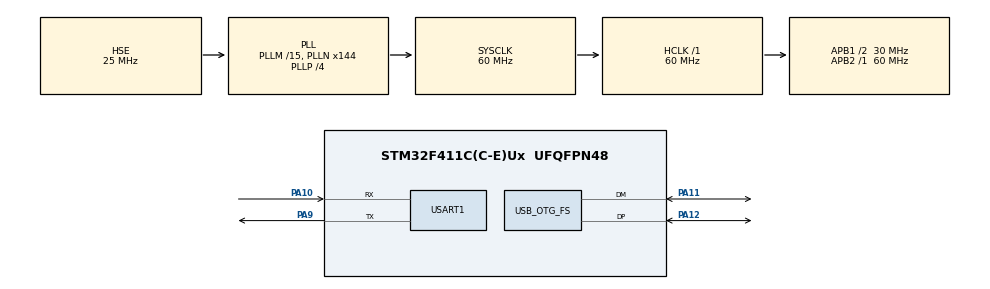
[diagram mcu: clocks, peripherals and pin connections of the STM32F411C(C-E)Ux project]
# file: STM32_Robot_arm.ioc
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Mcu.Family=STM32F4
Mcu.Name=STM32F411C(C-E)Ux
Mcu.Package=UFQFPN48
NVIC.OTG_FS_IRQn=true\:0\:0\:false\:false\:true\:false\:true\:true
NVIC.PriorityGroup=NVIC_PRIORITYGROUP_4
PA10.Mode=Asynchronous
PA10.Signal=USART1_RX
PA11.Mode=Device_Only
PA11.Signal=USB_OTG_FS_DM
PA12.Mode=Device_Only
PA12.Signal=USB_OTG_FS_DP
PA9.Mode=Asynchronous
PA9.Signal=USART1_TX
PH0\ -\ OSC_IN.Mode=HSE-External-Oscillator
PH0\ -\ OSC_IN.Signal=RCC_OSC_IN
PH1\ -\ OSC_OUT.Mode=HSE-External-Oscillator
PH1\ -\ OSC_OUT.Signal=RCC_OSC_OUT
ProjectManager.HeapSize=0x200
ProjectManager.StackSize=0x400
ProjectManager.TargetToolchain=CMake
RCC.48MHZClocksFreq_Value=48000000
RCC.AHBFreq_Value=60000000
RCC.APB1CLKDivider=RCC_HCLK_DIV2
RCC.APB1Freq_Value=30000000
RCC.APB1TimFreq_Value=60000000
RCC.APB2Freq_Value=60000000
RCC.APB2TimFreq_Value=60000000
RCC.CortexFreq_Value=60000000
RCC.HCLKFreq_Value=60000000
RCC.HSE_VALUE=25000000
RCC.HSI_VALUE=16000000
RCC.LSE_VALUE=32768
RCC.PLLM=15
RCC.PLLN=144
RCC.PLLP=RCC_PLLP_DIV4
RCC.PLLQ=5
RCC.SYSCLKFreq_VALUE=60000000
RCC.SYSCLKSource=RCC_SYSCLKSOURCE_PLLCLK
RCC.VCOOutputFreq_Value=240000000
USART1.VirtualMode=VM_ASYNC
USB_DEVICE.CLASS_NAME_FS=CDC
USB_DEVICE.VirtualMode=Cdc
USB_DEVICE.VirtualModeFS=Cdc_FS
USB_OTG_FS.VirtualMode=Device_Only
VP_USB_DEVICE_VS_USB_DEVICE_CDC_FS.Mode=CDC_FS
board=custom

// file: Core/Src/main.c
/* USER CODE BEGIN Header */
/**
  ******************************************************************************
  * @file           : main.c
  * @brief          : Main program body
  ******************************************************************************
  * @attention
  *
  * Copyright (c) 2026 STMicroelectronics.
  * All rights reserved.
  *
  * This software is licensed under terms that can be found in the LICENSE file
  * in the root directory of this software component.
  * If no LICENSE file comes with this software, it is provided AS-IS.
  *
  ******************************************************************************
  */
/* USER CODE END Header */
#include "main.h"
#include "usb_device.h"
#include "usbd_cdc_if.h"

/* USER CODE BEGIN PTD */
typedef struct {
  uint32_t I_scale_analog : 1;
  uint32_t internal_Rsense : 1;
  uint32_t en_SpreadCycle : 1;
  uint32_t shaft : 1;
  uint32_t index_otpw : 1;
  uint32_t index_step : 1;
  uint32_t pdn_disable : 1;
  uint32_t mstep_reg_select : 1;
  uint32_t multistep_filt : 1;
  uint32_t test_mode : 1;
  uint32_t reserved : 22;
} TMC2209_GCONF_t;

typedef struct {
  uint32_t IHOLD : 5;
  uint32_t IRUN : 5;
  uint32_t reserved0 : 3;
  uint32_t IHOLDDELAY : 4;
  uint32_t reserved1 : 15;
} TMC2209_IHOLD_IRUN_t;

typedef struct {
  uint32_t semin : 4;
  uint32_t reserved0 : 1;
  uint32_t seup : 2;
  uint32_t reserved1 : 1;
  uint32_t semax : 4;
  uint32_t reserved2 : 1;
  uint32_t sedn : 2;
  uint32_t seimin : 1;
  uint32_t reserved3 : 16;
} TMC2209_COOLCONF_t;

typedef struct {
  uint32_t toff : 4;
  uint32_t hstrt : 3;
  uint32_t hend : 4;
  uint32_t reserved0 : 4;
  uint32_t tbl : 2;
  uint32_t vsense : 1;
  uint32_t reserved1 : 6;
  uint32_t mres : 4;
  uint32_t intpol : 1;
  uint32_t dedge : 1;
  uint32_t diss2g : 1;
  uint32_t diss2vs : 1;
} TMC2209_CHOPCONF_t;

typedef struct
{
  uint32_t PWM_OFS : 8;
  uint32_t PWM_GRAD : 8;
  uint32_t pwm_freg : 2;
  uint32_t pwm_autoscale : 1;
  uint32_t pwm_autograd : 1;
  uint32_t freewheel : 2;
  uint32_t reserved0 : 2;
  uint32_t PWM_REG : 4;
  uint32_t PWM_LIM : 4;
} TMC2209_PWMCONF_t;

typedef union {
  TMC2209_GCONF_t GCONF;
  TMC2209_IHOLD_IRUN_t IHOLD_IRUN;
  TMC2209_COOLCONF_t COOLCONF;
  TMC2209_CHOPCONF_t CHOPCONF;
  TMC2209_PWMCONF_t PWMCONF;
  uint32_t value;
} TMC2209_data_t;

/* USER CODE END PTD */

/* USER CODE BEGIN PD */
//Global Configuration registers
#define GCONF_ADDR 0x00
#define GSTAT_ADDR 0x01
#define NODECONF_ADDR 0x03

//Velocity Dependent Control registers
#define IHOLD_IRUN_ADDR 0x10
#define TPOWERDOWN_ADDR 0x11
#define TSTEP_ADDR 0x12
#define TPWMTHRS_ADDR 0x13
#define VACTUAL_ADDR 0x22

//StallGuard Control registers
#define TCOOLTHRS_ADDR 0x14
#define SGTHRS_ADDR 0x40
#define SG_RESULT_ADDR 0x41
#define COOLCONF_ADDR 0x42

//Chopper Control registers
#define CHOPCONF_ADDR 0x6C
#define PWMCONF_ADDR 0x70
/* USER CODE END PD */

UART_HandleTypeDef huart1;

void SystemClock_Config(void);
static void MX_GPIO_Init(void);
static void MX_USART1_UART_Init(void);
/* USER CODE BEGIN PFP */
static uint8_t CRC_calculate(const uint8_t *frame, const uint8_t length);
static void Write_Uart(UART_HandleTypeDef *huart, const uint8_t *payload);
static void Read_Request_Uart(UART_HandleTypeDef *huart, const uint8_t *payload);
static void Read_Reply_Uart(UART_HandleTypeDef *huart, uint8_t *payload);
static void TMC2209_get_data(UART_HandleTypeDef *huart, const uint8_t device_address, uint8_t register_address, TMC2209_data_t *data);
static void TMC2209_set_data(UART_HandleTypeDef *huart, const uint8_t device_address, uint8_t register_address, TMC2209_data_t data);

static void TMC2209_Init(UART_HandleTypeDef *huart, const uint8_t device_address);
/* USER CODE END PFP */

/* USER CODE BEGIN 0 */
static uint8_t CRC_calculate(const uint8_t *frame, const uint8_t length)
{
    uint8_t crc = 0;
    uint8_t i, j;
    for (i = 0; i < length; i++) {
        uint8_t currentByte = frame[i];
        for (j = 0; j < 8; j++) {
            if ((crc >> 7) ^ (currentByte & 0x01)) {
                crc = (crc << 1) ^ 0x07;
            } else {
                crc = (crc << 1);
            }
            currentByte >>= 1;
        }
    }
    return crc;
}

static void Write_Uart(UART_HandleTypeDef *huart, const uint8_t *payload)
{
  uint8_t frame[8];
  frame[0] = 0x05; // Sync byte
  frame[1] = payload[0]; // Device address
  frame[2] = payload[1] | 0x80; // Register address OR command with MSB set to 1 for write operation
  frame[3] = payload[2]; // Data byte 1
  frame[4] = payload[3]; // Data byte 2
  frame[5] = payload[4]; // Data byte 3
  frame[6] = payload[5]; // Data byte 4
  frame[7] = CRC_calculate(frame, 7); // Checksum

  HAL_UART_Transmit(huart, frame, 8, HAL_MAX_DELAY);
}

static void Read_Request_Uart(UART_HandleTypeDef *huart, const uint8_t *payload)
{
  uint8_t frame[4];
  frame[0] = 0x05; // Sync byte
  frame[1] = payload[0]; // Device address
  frame[2] = payload[1];
  frame[3] = CRC_calculate(frame, 3 ); // Checksum

  HAL_UART_Transmit(huart, frame, 4, HAL_MAX_DELAY);
}

static void Read_Reply_Uart(UART_HandleTypeDef *huart, uint8_t *payload)
{
  uint8_t frame[8];
  do
  {
    HAL_UART_Receive(huart, frame, 1, HAL_MAX_DELAY);
  } while (frame[0] != 0x05); // Wait for sync byte

  HAL_UART_Receive(huart, frame, 8, HAL_MAX_DELAY);
  if(frame[7] == CRC_calculate(frame, 7)) {
    payload[0] = frame[3]; // Data byte 1
    payload[1] = frame[4]; // Data byte 2
    payload[2] = frame[5]; // Data byte 3
    payload[3] = frame[6]; // Data byte 4
  }
}

static void TMC2209_get_data(UART_HandleTypeDef *huart, const uint8_t device_address, uint8_t register_address, TMC2209_data_t *data)
{
  Read_Request_Uart(huart, (uint8_t[]){device_address, register_address});
  HAL_Delay(10);
  Read_Reply_Uart(huart, (uint8_t*)&data->value);
}

static void TMC2209_set_data(UART_HandleTypeDef *huart, const uint8_t device_address, uint8_t register_address, TMC2209_data_t data)
{
  uint8_t payload[6];
  payload[0] = device_address;
  payload[1] = register_address;
  memcpy(&payload[2], &data.value, sizeof(data.value));
  Write_Uart(huart, payload);
}

static void TMC2209_Init(UART_HandleTypeDef *huart, const uint8_t device_address)
{
  TMC2209_data_t data;
  TMC2209_get_data(huart, device_address, GCONF_ADDR, &data);

  data.GCONF.en_SpreadCycle = 1;
  data.GCONF.index_otpw = 1;
  data.GCONF.index_step = 0;
  data.GCONF.pdn_disable = 1;
  data.GCONF.mstep_reg_select = 1;
  data.GCONF.test_mode = 0;

  TMC2209_set_data(huart, device_address, GCONF_ADDR, data);
  TMC2209_set_data(huart, device_address, NODECONF_ADDR, (TMC2209_data_t){.value = (8 << 8)});

  data.value = 0;
  data.IHOLD_IRUN.IHOLD = 8;
  data.IHOLD_IRUN.IRUN = 20;
  data.IHOLD_IRUN.IHOLDDELAY = 8;
  TMC2209_set_data(huart, device_address, IHOLD_IRUN_ADDR, data);

  data.value = 0;
  data.COOLCONF.semin = 5;
  data.COOLCONF.seup = 0b00;
  data.COOLCONF.semax = 5;
  data.COOLCONF.sedn = 0b01;
  data.COOLCONF.seimin = 1;
  TMC2209_set_data(huart, device_address, COOLCONF_ADDR, data);

  data.value = 0;
  data.CHOPCONF.toff = 3;
  data.CHOPCONF.hstrt = 0b000;
  data.CHOPCONF.hend = 0b0000;
  data.CHOPCONF.tbl = 2;
  data.CHOPCONF.vsense = 1;
  data.CHOPCONF.mres = 0b0000;
  data.CHOPCONF.intpol = 1;
  data.CHOPCONF.dedge = 0;
  data.CHOPCONF.diss2g = 0;
  data.CHOPCONF.diss2vs = 0;
  TMC2209_set_data(huart, device_address, CHOPCONF_ADDR, data);

  data.value = 0;
  data.PWMCONF.PWM_OFS = 36;
  data.PWMCONF.PWM_GRAD = 8;
  data.PWMCONF.pwm_freg = 0b10;
  data.PWMCONF.pwm_autoscale = 1;
  data.PWMCONF.pwm_autograd = 1;
  data.PWMCONF.freewheel = 0b00;
  data.PWMCONF.PWM_REG = 0b0010;
  data.PWMCONF.PWM_LIM = 12;
  TMC2209_set_data(huart, device_address, PWMCONF_ADDR, data);
}
/* USER CODE END 0 */

int main(void)
{

  /* MCU Configuration--------------------------------------------------------*/

  /* Reset of all peripherals, Initializes the Flash interface and the Systick. */
  HAL_Init();

  /* Configure the system clock */
  SystemClock_Config();

  /* Initialize all configured peripherals */
  MX_GPIO_Init();
  MX_USART1_UART_Init();
  MX_USB_DEVICE_Init();

  /* Infinite loop */
  /* USER CODE BEGIN WHILE */
  while (1)
  {
    HAL_Delay(1000);
    /* USER CODE END WHILE */

  }
}

void SystemClock_Config(void)
{
  RCC_OscInitTypeDef RCC_OscInitStruct = {0};
  RCC_ClkInitTypeDef RCC_ClkInitStruct = {0};

  /** Configure the main internal regulator output voltage
  */
  __HAL_RCC_PWR_CLK_ENABLE();
  __HAL_PWR_VOLTAGESCALING_CONFIG(PWR_REGULATOR_VOLTAGE_SCALE1);

  /** Initializes the RCC Oscillators according to the specified parameters
  * in the RCC_OscInitTypeDef structure.
  */
  RCC_OscInitStruct.OscillatorType = RCC_OSCILLATORTYPE_HSE;
  RCC_OscInitStruct.HSEState = RCC_HSE_ON;
  RCC_OscInitStruct.PLL.PLLState = RCC_PLL_ON;
  RCC_OscInitStruct.PLL.PLLSource = RCC_PLLSOURCE_HSE;
  RCC_OscInitStruct.PLL.PLLM = 15;
  RCC_OscInitStruct.PLL.PLLN = 144;
  RCC_OscInitStruct.PLL.PLLP = RCC_PLLP_DIV4;
  RCC_OscInitStruct.PLL.PLLQ = 5;
  if (HAL_RCC_OscConfig(&RCC_OscInitStruct) != HAL_OK)
  {
    Error_Handler();
  }

  /** Initializes the CPU, AHB and APB buses clocks
  */
  RCC_ClkInitStruct.ClockType = RCC_CLOCKTYPE_HCLK|RCC_CLOCKTYPE_SYSCLK
                              |RCC_CLOCKTYPE_PCLK1|RCC_CLOCKTYPE_PCLK2;
  RCC_ClkInitStruct.SYSCLKSource = RCC_SYSCLKSOURCE_PLLCLK;
  RCC_ClkInitStruct.AHBCLKDivider = RCC_SYSCLK_DIV1;
  RCC_ClkInitStruct.APB1CLKDivider = RCC_HCLK_DIV2;
  RCC_ClkInitStruct.APB2CLKDivider = RCC_HCLK_DIV1;

  if (HAL_RCC_ClockConfig(&RCC_ClkInitStruct, FLASH_LATENCY_1) != HAL_OK)
  {
    Error_Handler();
  }
}

static void MX_USART1_UART_Init(void)
{

  huart1.Instance = USART1;
  huart1.Init.BaudRate = 115200;
  huart1.Init.WordLength = UART_WORDLENGTH_8B;
  huart1.Init.StopBits = UART_STOPBITS_1;
  huart1.Init.Parity = UART_PARITY_NONE;
  huart1.Init.Mode = UART_MODE_TX_RX;
  huart1.Init.HwFlowCtl = UART_HWCONTROL_NONE;
  huart1.Init.OverSampling = UART_OVERSAMPLING_16;
  if (HAL_UART_Init(&huart1) != HAL_OK)
  {
    Error_Handler();
  }

}

static void MX_GPIO_Init(void)
{

  /* GPIO Ports Clock Enable */
  __HAL_RCC_GPIOH_CLK_ENABLE();
  __HAL_RCC_GPIOA_CLK_ENABLE();

}

void Error_Handler(void)
{
  __disable_irq();
  while (1)
  {
  }
}
